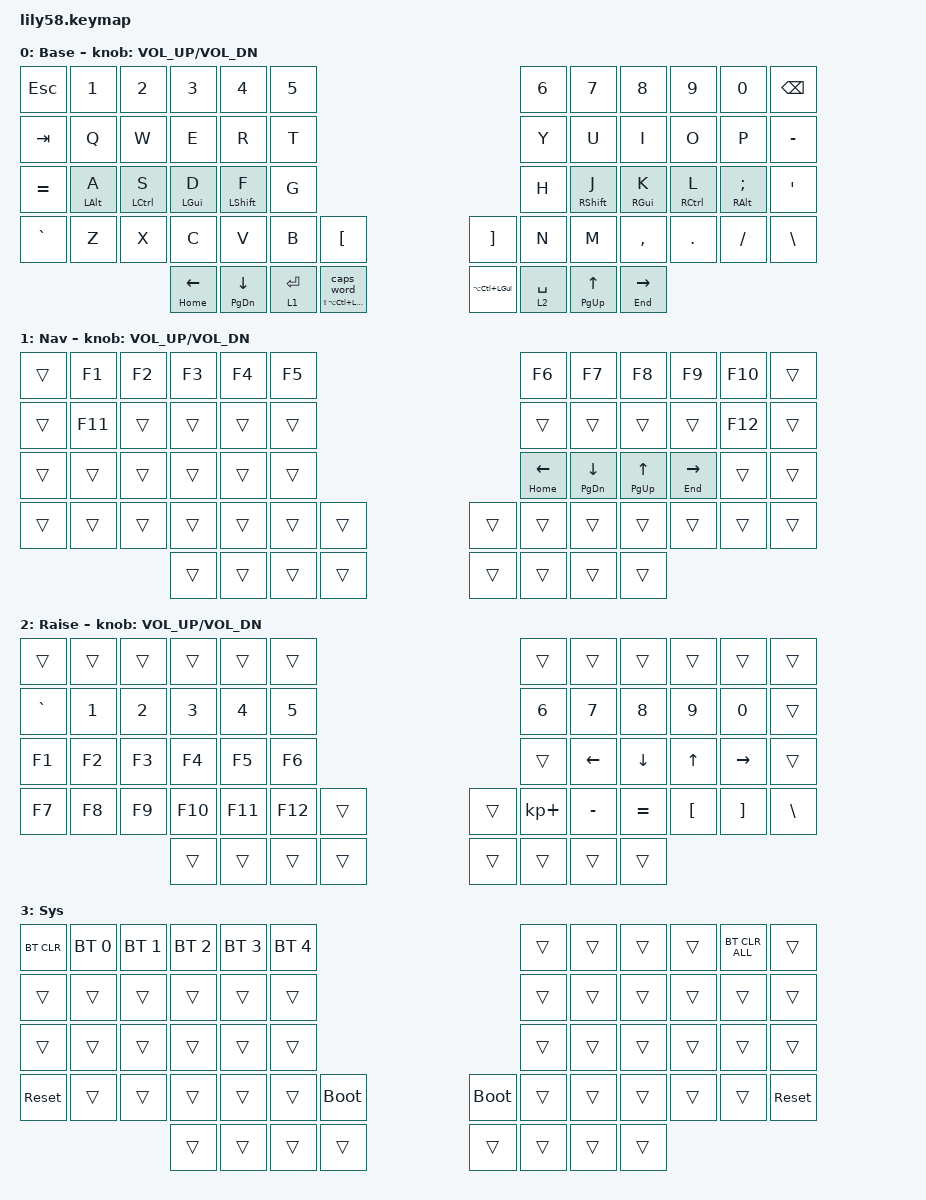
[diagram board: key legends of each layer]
/*
 * Copyright (c) 2020 The ZMK Contributors
 *
 * SPDX-License-Identifier: MIT
 */

#include <behaviors.dtsi>
#include <dt-bindings/zmk/bt.h>
#include <dt-bindings/zmk/keys.h>

/ {
    behaviors {
        lhm: lhm {
            compatible = "zmk,behavior-hold-tap";
            label = "LHM";
            bindings = <&kp>, <&kp>;

            #binding-cells = <2>;
            tapping-term-ms = <250>;
            quick-tap-ms = <175>;
            require-prior-idle-ms = <150>;
            flavor = "balanced";
            hold-trigger-on-release;
            hold-trigger-key-positions = <6 7 8 9 10 11 18 19 20 21 22 23 30 31 32 33 34 35 43 44 45 46 47 48 49 54 55 56 57 50 51 52 53>;
        };

        rhm: rhm {
            compatible = "zmk,behavior-hold-tap";
            label = "RHM";
            bindings = <&kp>, <&kp>;

            #binding-cells = <2>;
            tapping-term-ms = <250>;
            quick-tap-ms = <175>;
            require-prior-idle-ms = <150>;
            flavor = "balanced";
            hold-trigger-on-release;
            hold-trigger-key-positions = <0 1 2 3 4 5 12 13 14 15 16 17 24 25 26 27 28 29 36 37 38 39 40 41 42 50 51 52 53 54 55 56 57>;
        };

        kp_hold_caps_word: kp_hold_caps_word {
            compatible = "zmk,behavior-hold-tap";
            label = "KP_HOLD_CAPS_WORD";
            bindings = <&kp>, <&caps_word>;

            #binding-cells = <2>;
            tapping-term-ms = <250>;
            flavor = "balanced";
            quick-tap-ms = <175>;
            require-prior-idle-ms = <150>;
        };
    };

    combos {
        compatible = "zmk,combos";

        cmb_inner_thumbs {
            bindings = <&mo 3>;
            key-positions = <53 54>;
            require-prior-idle-ms = <200>;
        };
    };

    keymap {
        compatible = "zmk,keymap";

        default_layer {
            // ------------------------------------------------------------------------------------------------------------
            // |  ESC  |  1  |  2  |  3   |  4   |  5   |                   |  6   |  7    |  8    |  9   |   0   |   `   |
            // |  TAB  |  Q  |  W  |  E   |  R   |  T   |                   |  Y   |  U    |  I    |  O   |   P   |   -   |
            // |  CTRL |  A  |  S  |  D   |  F   |  G   |                   |  H   |  J    |  K    |  L   |   ;   |   '   |
            // | SHIFT |  Z  |  X  |  C   |  V   |  B   |   "["  |  |  "]"  |  N   |  M    |  ,    |  .   |   /   | SHIFT |
            //                     | ALT  | GUI  | LOWER|  SPACE |  | ENTER | RAISE| BSPC  | GUI   |

            display-name = "Base";
            bindings = <
&kp ESC    &kp N1       &kp N2        &kp N3         &kp N4              &kp N5                                                                      &kp N6       &kp N7          &kp N8         &kp N9        &kp N0          &kp BACKSPACE
&kp TAB    &kp Q        &kp W         &kp E          &kp R               &kp T                                                                       &kp Y        &kp U           &kp I          &kp O         &kp P           &kp MINUS
&kp EQUAL  &lhm LALT A  &lhm LCTRL S  &lhm LGUI D    &lhm LEFT_SHIFT F   &kp G                                                                       &kp H        &rhm RSHFT J    &rhm RGUI K    &rhm RCTRL L  &rhm RALT SEMI  &kp SQT
&kp GRAVE  &kp Z        &kp X         &kp C          &kp V               &kp B        &kp LBKT                                 &kp RBKT              &kp N        &kp M           &kp COMMA      &kp DOT       &kp FSLH        &kp BACKSLASH
                                      &mt HOME LEFT  &mt PAGE_DOWN DOWN  &lt 1 ENTER  &kp_hold_caps_word LS(LA(LC(LGUI))) 0    &kp LA(LC(LEFT_GUI))  &lt 2 SPACE  &mt PAGE_UP UP  &mt END RIGHT
            >;

            sensor-bindings = <&inc_dec_kp C_VOL_UP C_VOL_DN>;
        };

        navigation {
            // ------------------------------------------------------------------------------------------------------------
            // | BTCLR | BT1 | BT2 |  BT3 |  BT4 |  BT5 |                   |      |       |       |      |       |       |
            // |  F1   |  F2 |  F3 |  F4  |  F5  |  F6  |                   |  F7  |  F8   |  F9   |  F10 |  F11  |  F12  |
            // |   `   |  !  |  @  |  #   |  $   |  %   |                   |  ^   |  &    |  *    |  (   |   )   |   ~   |
            // |       |     |     |      |      |      |        |  |       |      |  _    |  +    |  {   |   }   |  "|"  |
            //                     |      |      |      |        |  |       |      |       |       |

            display-name = "Nav";
            bindings = <
&trans  &kp F1   &kp F2  &kp F3  &kp F4  &kp F5                    &kp F6               &kp F7                    &kp F8                &kp F9               &kp F10  &trans
&trans  &kp F11  &trans  &trans  &trans  &trans                    &trans               &trans                    &trans                &trans               &kp F12  &trans
&trans  &trans   &trans  &trans  &trans  &trans                    &mt HOME LEFT_ARROW  &mt PAGE_DOWN DOWN_ARROW  &mt PAGE_UP UP_ARROW  &mt END RIGHT_ARROW  &trans   &trans
&trans  &trans   &trans  &trans  &trans  &trans  &trans    &trans  &trans               &trans                    &trans                &trans               &trans   &trans
                         &trans  &trans  &trans  &trans    &trans  &trans               &trans                    &trans
            >;

            sensor-bindings = <&inc_dec_kp C_VOL_UP C_VOL_DN>;
        };

        raise_layer {
            // ------------------------------------------------------------------------------------------------------------
            // |       |     |     |      |      |      |                   |      |       |       |      |       |       |
            // |   `   |  1  |  2  |  3   |  4   |  5   |                   |  6   |   7   |   8   |  9   |   0   |       |
            // |   F1  |  F2 |  F3 |  F4  |  F5  |  F6  |                   |      |   <-  |   v   |  ^   |  ->   |       |
            // |   F7  |  F8 |  F9 |  F10 |  F11 |  F12 |        |  |       |  +   |   -   |   =   |  [   |   ]   |   \   |
            //                     |      |      |      |        |  |       |      |       |       |

            display-name = "Raise";
            bindings = <
&trans     &trans  &trans  &trans   &trans   &trans                     &trans       &trans     &trans     &trans    &trans     &trans
&kp GRAVE  &kp N1  &kp N2  &kp N3   &kp N4   &kp N5                     &kp N6       &kp N7     &kp N8     &kp N9    &kp N0     &trans
&kp F1     &kp F2  &kp F3  &kp F4   &kp F5   &kp F6                     &trans       &kp LEFT   &kp DOWN   &kp UP    &kp RIGHT  &trans
&kp F7     &kp F8  &kp F9  &kp F10  &kp F11  &kp F12  &trans    &trans  &kp KP_PLUS  &kp MINUS  &kp EQUAL  &kp LBKT  &kp RBKT   &kp BSLH
                           &trans   &trans   &trans   &trans    &trans  &trans       &trans     &trans
            >;

            sensor-bindings = <&inc_dec_kp C_VOL_UP C_VOL_DN>;
        };

        system {
            bindings = <
&bt BT_CLR  &bt BT_SEL 0  &bt BT_SEL 1  &bt BT_SEL 2  &bt BT_SEL 3  &bt BT_SEL 4                              &trans  &trans  &trans  &trans  &bt BT_CLR_ALL  &trans
&trans      &trans        &trans        &trans        &trans        &trans                                    &trans  &trans  &trans  &trans  &trans          &trans
&trans      &trans        &trans        &trans        &trans        &trans                                    &trans  &trans  &trans  &trans  &trans          &trans
&sys_reset  &trans        &trans        &trans        &trans        &trans        &bootloader    &bootloader  &trans  &trans  &trans  &trans  &trans          &sys_reset
                                        &trans        &trans        &trans        &trans         &trans       &trans  &trans  &trans
            >;

            label = "Sys";
        };
    };
};
